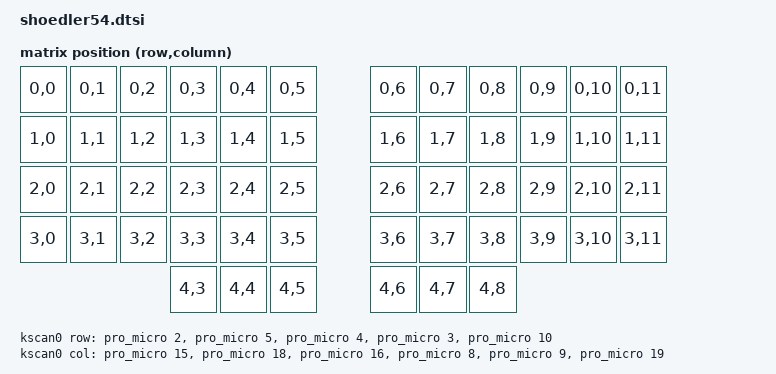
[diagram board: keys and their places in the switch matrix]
#include <dt-bindings/zmk/matrix_transform.h>

/ {
    chosen {
        zmk,kscan = &kscan0;
        zmk,matrix_transform = &default_transform;
    };

    kscan0: kscan {
        compatible = "zmk,kscan-gpio-matrix";
        diode-direction = "col2row";
        wakeup-source;

        row-gpios
            = <&pro_micro 2  (GPIO_ACTIVE_HIGH | GPIO_PULL_DOWN)> // ergogen r4
            , <&pro_micro 5  (GPIO_ACTIVE_HIGH | GPIO_PULL_DOWN)> // ergogen r3
            , <&pro_micro 4  (GPIO_ACTIVE_HIGH | GPIO_PULL_DOWN)> // ergogen r2
            , <&pro_micro 3  (GPIO_ACTIVE_HIGH | GPIO_PULL_DOWN)> // ergogen r1
            , <&pro_micro 10 (GPIO_ACTIVE_HIGH | GPIO_PULL_DOWN)> // ergogen r0
            ;

        col-gpios
            = <&pro_micro 15 GPIO_ACTIVE_HIGH> // ergogen c0
            , <&pro_micro 18 GPIO_ACTIVE_HIGH> // ergogen c1
            , <&pro_micro 16 GPIO_ACTIVE_HIGH> // ergogen c2
            , <&pro_micro 8  GPIO_ACTIVE_HIGH> // ergogen c3
            , <&pro_micro 9  GPIO_ACTIVE_HIGH> // ergogen c4
            , <&pro_micro 19 GPIO_ACTIVE_HIGH> // ergogen c5
            ;
    };

    default_transform: keymap_transform_0 {
        compatible = "zmk,matrix-transform";
        columns = <12>;
        rows = <5>;

        map = <
RC(0,0) RC(0,1) RC(0,2) RC(0,3) RC(0,4) RC(0,5)                 RC(0,6) RC(0,7) RC(0,8) RC(0,9) RC(0,10) RC(0,11)
RC(1,0) RC(1,1) RC(1,2) RC(1,3) RC(1,4) RC(1,5)                 RC(1,6) RC(1,7) RC(1,8) RC(1,9) RC(1,10) RC(1,11)
RC(2,0) RC(2,1) RC(2,2) RC(2,3) RC(2,4) RC(2,5)                 RC(2,6) RC(2,7) RC(2,8) RC(2,9) RC(2,10) RC(2,11)
RC(3,0) RC(3,1) RC(3,2) RC(3,3) RC(3,4) RC(3,5)                 RC(3,6) RC(3,7) RC(3,8) RC(3,9) RC(3,10) RC(3,11)
                        RC(4,3) RC(4,4) RC(4,5)                 RC(4,6) RC(4,7) RC(4,8)
        >;
    };
};
